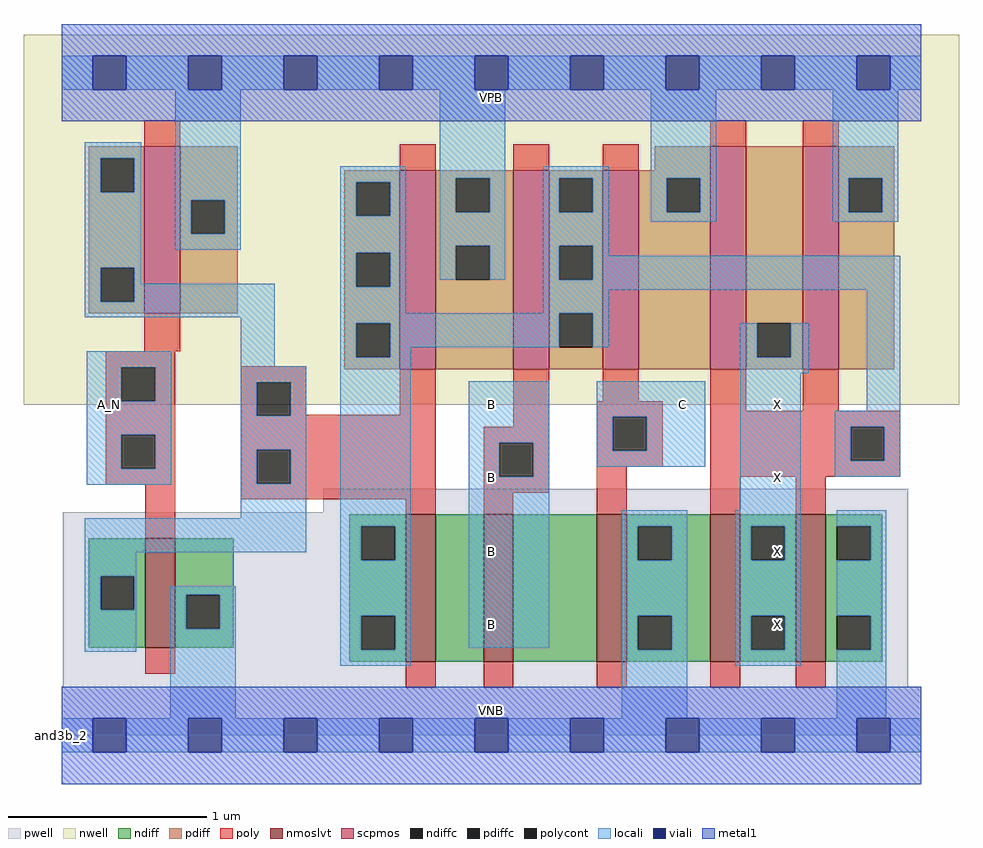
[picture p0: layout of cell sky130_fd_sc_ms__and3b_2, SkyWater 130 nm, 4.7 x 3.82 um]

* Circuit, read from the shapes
.subckt sky130_fd_sc_ms__and3b_2 A_N B C VGND VNB VPB VPWR X
XM1 VGND A_N n1 VNB sky130_fd_pr__nfet_01v8_lvt w=0.55 l=0.15
XM2 n2 n1 n3 VNB sky130_fd_pr__nfet_01v8_lvt w=0.74 l=0.15
XM3 n4 B n2 VNB sky130_fd_pr__nfet_01v8_lvt w=0.74 l=0.15
XM4 VGND C n4 VNB sky130_fd_pr__nfet_01v8_lvt w=0.74 l=0.15
XM5 X n3 VGND VNB sky130_fd_pr__nfet_01v8_lvt w=0.74 l=0.15 m=2
XM6 VPWR A_N n1 VPB sky130_fd_pr__pfet_01v8 w=0.84 l=0.18
XM7 VPWR n1 n3 VPB sky130_fd_pr__pfet_01v8 w=1 l=0.18
XM8 n3 B VPWR VPB sky130_fd_pr__pfet_01v8 w=1 l=0.18
XM9 VPWR C n3 VPB sky130_fd_pr__pfet_01v8 w=1 l=0.18
XM10 X n3 VPWR VPB sky130_fd_pr__pfet_01v8 w=1.12 l=0.18 m=2
.ends

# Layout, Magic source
magic
tech sky130A
magscale 1 2
<< nwell >>
rect -38 332 902 704
<< pwell >>
rect 263 224 851 248
rect 1 49 851 224
rect 0 0 864 49
<< scpmos >>
rect 83 424 119 592
rect 340 368 376 568
rect 454 368 490 568
rect 544 368 580 568
rect 652 368 688 592
rect 745 368 781 592
<< nmoslvt >>
rect 84 88 114 198
rect 346 74 376 222
rect 424 74 454 222
rect 538 74 568 222
rect 652 74 682 222
rect 738 74 768 222
<< ndiff >>
rect 289 210 346 222
rect 27 160 84 198
rect 27 126 39 160
rect 73 126 84 160
rect 27 88 84 126
rect 114 141 173 198
rect 114 107 125 141
rect 159 107 173 141
rect 114 88 173 107
rect 289 176 301 210
rect 335 176 346 210
rect 289 120 346 176
rect 289 86 301 120
rect 335 86 346 120
rect 289 74 346 86
rect 376 74 424 222
rect 454 74 538 222
rect 568 210 652 222
rect 568 176 579 210
rect 613 176 652 210
rect 568 120 652 176
rect 568 86 579 120
rect 613 86 652 120
rect 568 74 652 86
rect 682 210 738 222
rect 682 176 693 210
rect 727 176 738 210
rect 682 120 738 176
rect 682 86 693 120
rect 727 86 738 120
rect 682 74 738 86
rect 768 210 825 222
rect 768 176 779 210
rect 813 176 825 210
rect 768 120 825 176
rect 768 86 779 120
rect 813 86 825 120
rect 768 74 825 86
<< pdiff >>
rect 27 580 83 592
rect 27 546 39 580
rect 73 546 83 580
rect 27 470 83 546
rect 27 436 39 470
rect 73 436 83 470
rect 27 424 83 436
rect 119 538 177 592
rect 596 568 652 592
rect 119 504 130 538
rect 164 504 177 538
rect 119 424 177 504
rect 284 556 340 568
rect 284 522 296 556
rect 330 522 340 556
rect 284 485 340 522
rect 284 451 296 485
rect 330 451 340 485
rect 284 414 340 451
rect 284 380 296 414
rect 330 380 340 414
rect 284 368 340 380
rect 376 560 454 568
rect 376 526 396 560
rect 430 526 454 560
rect 376 492 454 526
rect 376 458 396 492
rect 430 458 454 492
rect 376 368 454 458
rect 490 560 544 568
rect 490 526 500 560
rect 534 526 544 560
rect 490 492 544 526
rect 490 458 500 492
rect 534 458 544 492
rect 490 424 544 458
rect 490 390 500 424
rect 534 390 544 424
rect 490 368 544 390
rect 580 560 652 568
rect 580 526 608 560
rect 642 526 652 560
rect 580 368 652 526
rect 688 414 745 592
rect 688 380 699 414
rect 733 380 745 414
rect 688 368 745 380
rect 781 560 837 592
rect 781 526 791 560
rect 825 526 837 560
rect 781 368 837 526
<< ndiffc >>
rect 39 126 73 160
rect 125 107 159 141
rect 301 176 335 210
rect 301 86 335 120
rect 579 176 613 210
rect 579 86 613 120
rect 693 176 727 210
rect 693 86 727 120
rect 779 176 813 210
rect 779 86 813 120
<< pdiffc >>
rect 39 546 73 580
rect 39 436 73 470
rect 130 504 164 538
rect 296 522 330 556
rect 296 451 330 485
rect 296 380 330 414
rect 396 526 430 560
rect 396 458 430 492
rect 500 526 534 560
rect 500 458 534 492
rect 500 390 534 424
rect 608 526 642 560
rect 699 380 733 414
rect 791 526 825 560
<< poly >>
rect 83 592 119 618
rect 340 568 376 594
rect 454 568 490 594
rect 544 568 580 594
rect 652 592 688 618
rect 745 592 781 618
rect 83 386 119 424
rect 44 370 114 386
rect 44 336 60 370
rect 94 336 114 370
rect 44 302 114 336
rect 44 268 60 302
rect 94 268 114 302
rect 44 252 114 268
rect 84 198 114 252
rect 180 355 246 371
rect 180 321 196 355
rect 230 322 246 355
rect 340 322 376 368
rect 230 321 376 322
rect 180 287 376 321
rect 454 310 490 368
rect 544 336 580 368
rect 180 253 196 287
rect 230 253 376 287
rect 180 237 376 253
rect 346 222 376 237
rect 424 294 490 310
rect 424 260 440 294
rect 474 260 490 294
rect 424 244 490 260
rect 538 320 604 336
rect 538 286 554 320
rect 588 286 604 320
rect 538 270 604 286
rect 652 326 688 368
rect 745 326 781 368
rect 652 310 843 326
rect 652 276 793 310
rect 827 276 843 310
rect 424 222 454 244
rect 538 222 568 270
rect 652 260 843 276
rect 652 222 682 260
rect 738 222 768 260
rect 84 62 114 88
rect 346 48 376 74
rect 424 48 454 74
rect 538 48 568 74
rect 652 48 682 74
rect 738 48 768 74
<< polycont >>
rect 60 336 94 370
rect 60 268 94 302
rect 196 321 230 355
rect 196 253 230 287
rect 440 260 474 294
rect 554 286 588 320
rect 793 276 827 310
<< locali >>
rect 0 649 31 683
rect 65 649 127 683
rect 161 649 223 683
rect 257 649 319 683
rect 353 649 415 683
rect 449 649 511 683
rect 545 649 607 683
rect 641 649 703 683
rect 737 649 799 683
rect 833 649 864 683
rect 23 580 80 596
rect 23 546 39 580
rect 73 546 80 580
rect 23 470 80 546
rect 114 538 180 649
rect 114 504 130 538
rect 164 504 180 538
rect 114 488 180 504
rect 280 556 346 572
rect 280 522 296 556
rect 330 522 346 556
rect 23 436 39 470
rect 73 454 80 470
rect 280 485 346 522
rect 73 436 214 454
rect 23 420 214 436
rect 25 370 110 386
rect 25 336 60 370
rect 94 336 110 370
rect 25 302 110 336
rect 25 268 60 302
rect 94 268 110 302
rect 25 252 110 268
rect 180 371 214 420
rect 280 451 296 485
rect 330 451 346 485
rect 380 560 446 649
rect 380 526 396 560
rect 430 526 446 560
rect 380 492 446 526
rect 380 458 396 492
rect 430 458 446 492
rect 484 560 550 572
rect 484 526 500 560
rect 534 526 550 560
rect 484 492 550 526
rect 592 560 658 649
rect 592 526 608 560
rect 642 526 658 560
rect 592 516 658 526
rect 775 560 841 649
rect 775 526 791 560
rect 825 526 841 560
rect 775 516 841 526
rect 484 458 500 492
rect 534 482 550 492
rect 534 458 843 482
rect 280 424 346 451
rect 484 448 843 458
rect 484 424 550 448
rect 280 414 500 424
rect 280 380 296 414
rect 330 390 500 414
rect 534 390 550 424
rect 330 380 351 390
rect 180 355 246 371
rect 180 321 196 355
rect 230 321 246 355
rect 180 287 246 321
rect 180 253 196 287
rect 230 253 246 287
rect 180 218 246 253
rect 23 184 246 218
rect 280 210 351 380
rect 682 380 699 414
rect 733 380 751 414
rect 682 364 751 380
rect 23 160 75 184
rect 23 126 39 160
rect 73 126 75 160
rect 280 176 301 210
rect 335 176 351 210
rect 23 84 75 126
rect 109 141 175 150
rect 109 107 125 141
rect 159 107 175 141
rect 109 17 175 107
rect 280 120 351 176
rect 280 86 301 120
rect 335 86 351 120
rect 409 294 490 356
rect 409 260 440 294
rect 474 260 490 294
rect 538 320 647 356
rect 538 286 554 320
rect 588 286 647 320
rect 538 270 647 286
rect 409 88 490 260
rect 682 226 743 364
rect 809 326 843 448
rect 777 310 843 326
rect 777 276 793 310
rect 827 276 843 310
rect 777 260 843 276
rect 563 210 629 226
rect 563 176 579 210
rect 613 176 629 210
rect 563 120 629 176
rect 280 70 351 86
rect 563 86 579 120
rect 613 86 629 120
rect 563 17 629 86
rect 677 210 743 226
rect 677 176 693 210
rect 727 176 743 210
rect 677 120 743 176
rect 677 86 693 120
rect 727 86 743 120
rect 677 70 743 86
rect 779 210 829 226
rect 813 176 829 210
rect 779 120 829 176
rect 813 86 829 120
rect 779 17 829 86
rect 0 -17 31 17
rect 65 -17 127 17
rect 161 -17 223 17
rect 257 -17 319 17
rect 353 -17 415 17
rect 449 -17 511 17
rect 545 -17 607 17
rect 641 -17 703 17
rect 737 -17 799 17
rect 833 -17 864 17
<< viali >>
rect 31 649 65 683
rect 127 649 161 683
rect 223 649 257 683
rect 319 649 353 683
rect 415 649 449 683
rect 511 649 545 683
rect 607 649 641 683
rect 703 649 737 683
rect 799 649 833 683
rect 31 -17 65 17
rect 127 -17 161 17
rect 223 -17 257 17
rect 319 -17 353 17
rect 415 -17 449 17
rect 511 -17 545 17
rect 607 -17 641 17
rect 703 -17 737 17
rect 799 -17 833 17
<< metal1 >>
rect 0 683 864 715
rect 0 649 31 683
rect 65 649 127 683
rect 161 649 223 683
rect 257 649 319 683
rect 353 649 415 683
rect 449 649 511 683
rect 545 649 607 683
rect 641 649 703 683
rect 737 649 799 683
rect 833 649 864 683
rect 0 617 864 649
rect 0 17 864 49
rect 0 -17 31 17
rect 65 -17 127 17
rect 161 -17 223 17
rect 257 -17 319 17
rect 353 -17 415 17
rect 449 -17 511 17
rect 545 -17 607 17
rect 641 -17 703 17
rect 737 -17 799 17
rect 833 -17 864 17
rect 0 -49 864 -17
<< labels >>
flabel pwell s 0 0 864 49 0 FreeSans 200 0 0 0 VNB
port 5 nsew ground bidirectional
flabel nwell s 0 617 864 666 0 FreeSans 200 0 0 0 VPB
port 6 nsew power bidirectional
rlabel comment s 0 0 0 0 4 and3b_2
flabel metal1 s 0 617 864 666 0 FreeSans 340 0 0 0 VPWR
port 7 nsew power bidirectional
flabel metal1 s 0 0 864 49 0 FreeSans 340 0 0 0 VGND
port 4 nsew ground bidirectional
flabel locali s 31 316 65 350 0 FreeSans 340 0 0 0 A_N
port 1 nsew signal input
flabel locali s 607 316 641 350 0 FreeSans 340 0 0 0 C
port 3 nsew signal input
flabel locali s 415 94 449 128 0 FreeSans 340 0 0 0 B
port 2 nsew signal input
flabel locali s 415 168 449 202 0 FreeSans 340 0 0 0 B
port 2 nsew signal input
flabel locali s 415 242 449 276 0 FreeSans 340 0 0 0 B
port 2 nsew signal input
flabel locali s 415 316 449 350 0 FreeSans 340 0 0 0 B
port 2 nsew signal input
flabel locali s 703 94 737 128 0 FreeSans 340 0 0 0 X
port 8 nsew signal output
flabel locali s 703 168 737 202 0 FreeSans 340 0 0 0 X
port 8 nsew signal output
flabel locali s 703 242 737 276 0 FreeSans 340 0 0 0 X
port 8 nsew signal output
flabel locali s 703 316 737 350 0 FreeSans 340 0 0 0 X
port 8 nsew signal output
<< properties >>
string LEFsite unit
string LEFclass CORE
string FIXED_BBOX 0 0 864 666
string GDS_FILE $PDKPATH/libs.ref/sky130_fd_sc_ms/gds/sky130_fd_sc_ms.gds
string LEFsymmetry X Y
string GDS_END 3408334
string GDS_START 3400770
<< end >>
